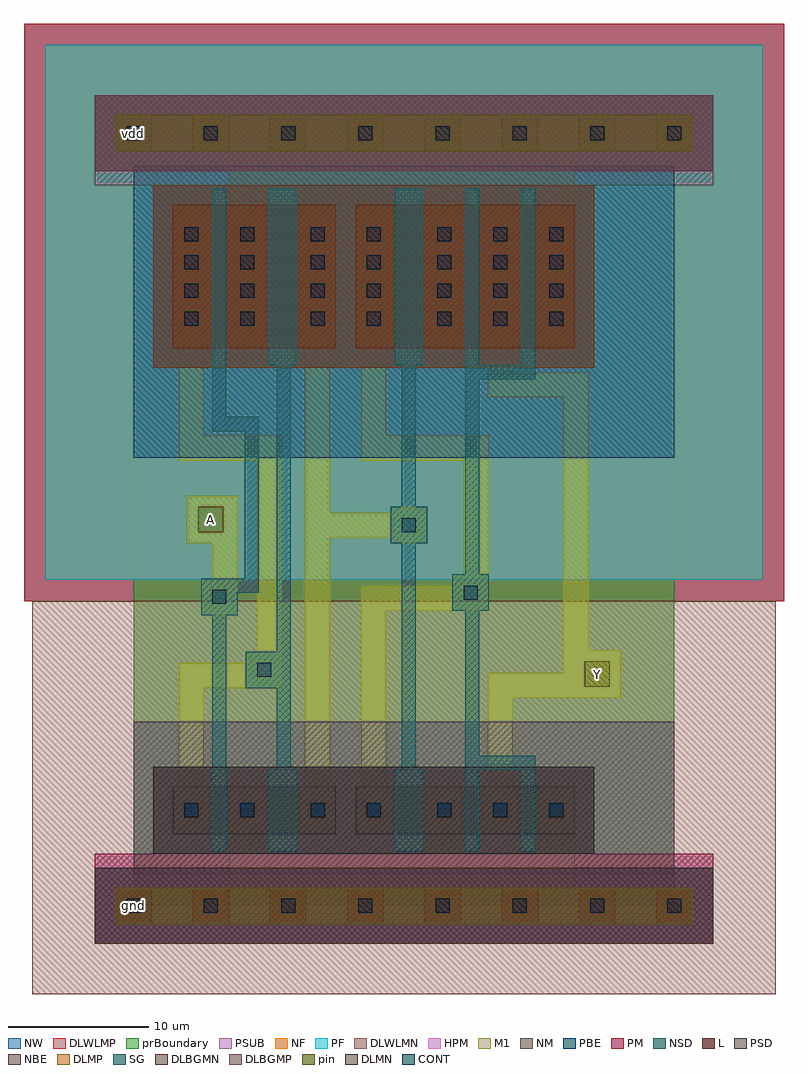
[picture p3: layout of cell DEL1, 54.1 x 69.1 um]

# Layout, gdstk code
import gdstk
lib = gdstk.Library(unit=1e-6, precision=1e-09)
def R(c, l, rs):  # rectangles x0, y0, x1, y1
    for r in rs: c.add(gdstk.rectangle(r[:2], r[2:], *l))
def A(c, l, x, y, w, h, nx, ny, dx, dy):  # array of equal rectangles
    R(c, l, [(x+i*dx, y+j*dy, x+i*dx+w, y+j*dy+h) for i in range(nx) for j in range(ny)])
def P(c, l, *ps):  # polygons
    for p in ps: c.add(gdstk.Polygon(p, *l))
L = (3, 0)
NM = (7, 0)
SG = (8, 0)
PSD = (9, 0)
CONT = (11, 0)
M1 = (13, 0)
NF = (25, 0)
PF = (26, 0)
NSD = (28, 0)
HPM = (33, 0)
PM = (35, 0)
NW = (36, 0)
pin = (48, 1)
PSUB = (140, 0)
PBE = (146, 0)
NBE = (147, 0)
DLWLMP = (150, 0)
DLWLMN = (151, 0)
DLMP = (157, 0)
DLMN = (158, 0)
DLBGMP = (177, 0)
DLBGMN = (178, 0)
prBoundary = (235, 0)

del1 = lib.new_cell('DEL1')
A(del1, L, -1.3, -1.3, 2.6, 2.6, 8, 2, 5.5, 55)
R(del1, L, [(2.8,5.1,14.4,8.5), (15.8,5.1,31.4,8.5), (2.8,39.7,14.4,49.9), (15.8,39.7,31.4,49.9)])
R(del1, NM, [(-2.75,-2.7,41.25,2.7)])
P(del1, NM, [(1.4,38.3),(1.4,51.3),(-2.75,51.3),(-2.75,57.7),(41.25,57.7),(41.25,51.3),(32.8,51.3),(32.8,38.3)])
P(del1, SG, [(5.6,3.9),(5.6,20.7),(4.8,20.7),(4.8,23.3),(7.9,23.3),(7.9,33.8),(5.6,33.8),(5.6,51.1),(6.6,51.1),(6.6,34.8),(8.9,34.8),(8.9,22.3),(7.4,22.3),(7.4,20.7),(6.6,20.7),(6.6,3.9)],
  [(9.6,3.9),(9.6,9.7),(10.2,9.7),(10.2,15.5),(8,15.5),(8,18.1),(10.2,18.1),(10.2,38.5),(9.6,38.5),(9.6,51.1),(11.6,51.1),(11.6,38.5),(11.2,38.5),(11.2,9.7),(11.6,9.7),(11.6,3.9)],
  [(18.6,3.9),(18.6,9.7),(19.1,9.7),(19.1,25.8),(18.3,25.8),(18.3,28.4),(19.1,28.4),(19.1,38.5),(18.6,38.5),(18.6,51.1),(20.6,51.1),(20.6,38.5),(20.1,38.5),(20.1,28.4),(20.9,28.4),(20.9,25.8),(20.1,25.8),(20.1,9.7),(20.6,9.7),(20.6,3.9)],
  [(23.6,3.9),(23.6,21),(22.7,21),(22.7,23.6),(23.6,23.6),(23.6,51.1),(24.6,51.1),(24.6,38.5),(27.6,38.5),(27.6,51.1),(28.6,51.1),(28.6,37.5),(24.6,37.5),(24.6,23.6),(25.3,23.6),(25.3,21),(24.6,21),(24.6,10.7),(28.6,10.7),(28.6,3.9),(27.6,3.9),(27.6,9.7),(24.6,9.7),(24.6,3.9)])
R(del1, PSD, [(1.4,3.7,32.8,9.9), (-2.75,52.3,41.25,57.7)])
A(del1, CONT, -0.5, -0.5, 1, 1, 8, 2, 5.5, 55)
A(del1, CONT, 21.6, 6.3, 1, 1, 3, 2, 4, 35)
A(del1, CONT, 3.6, 41.3, 1, 1, 1, 4, 0, 2)
A(del1, CONT, 12.6, 41.3, 1, 1, 1, 4, 0, 2)
A(del1, CONT, 16.6, 41.3, 1, 1, 1, 4, 0, 2)
A(del1, CONT, 21.6, 41.3, 1, 1, 1, 4, 0, 2)
A(del1, CONT, 21.6, 43.3, 1, 1, 3, 3, 4, 2)
R(del1, CONT, [(3.6,6.3,4.6,7.3), (7.6,6.3,8.6,7.3), (7.6,6.3,8.6,7.3), (12.6,6.3,13.6,7.3), (16.6,6.3,17.6,7.3), (21.6,6.3,22.6,7.3), (8.8,16.3,9.8,17.3), (5.6,21.5,6.6,22.5), (23.5,21.8,24.5,22.8), (19.1,26.6,20.1,27.6), (7.6,41.3,8.6,42.3), (7.6,41.3,8.6,42.3), (7.6,43.3,8.6,44.3), (7.6,43.3,8.6,44.3), (7.6,45.3,8.6,46.3), (7.6,45.3,8.6,46.3), (7.6,47.3,8.6,48.3), (7.6,47.3,8.6,48.3)])
P(del1, M1, [(-1.3,-1.3),(-1.3,1.3),(6.8,1.3),(6.8,8.5),(9.4,8.5),(9.4,3.7),(20.8,3.7),(20.8,8.5),(23.4,8.5),(23.4,3.7),(28.8,3.7),(28.8,8.5),(31.4,8.5),(31.4,1.3),(39.8,1.3),(39.8,-1.3)],
  [(4.8,20.7),(4.8,23.3),(5.6,23.3),(5.6,25.8),(3.8,25.8),(3.8,29.2),(7.4,29.2),(7.4,20.7)],
  [(2.8,5.1),(2.8,8.5),(3.2,8.5),(3.2,17.3),(8,17.3),(8,18.1),(8.8,18.1),(8.8,31.7),(3.2,31.7),(3.2,39.7),(2.8,39.7),(2.8,49.9),(5.4,49.9),(5.4,39.7),(5,39.7),(5,33.5),(10.6,33.5),(10.6,15.5),(5,15.5),(5,8.5),(5.4,8.5),(5.4,5.1)],
  [(11.8,5.1),(11.8,8.5),(12.2,8.5),(12.2,39.7),(11.8,39.7),(11.8,49.9),(14.4,49.9),(14.4,39.7),(14,39.7),(14,28),(18.3,28),(18.3,28.4),(20.9,28.4),(20.9,25.8),(18.3,25.8),(18.3,26.2),(14,26.2),(14,8.5),(14.4,8.5),(14.4,5.1)],
  [(15.8,5.1),(15.8,8.5),(16.2,8.5),(16.2,22.8),(22.7,22.8),(22.7,23.6),(23.5,23.6),(23.5,31.7),(16.2,31.7),(16.2,39.7),(15.8,39.7),(15.8,49.9),(18.4,49.9),(18.4,39.7),(18,39.7),(18,33.5),(25.3,33.5),(25.3,21),(18,21),(18,8.5),(18.4,8.5),(18.4,5.1)],
  [(24.8,5.1),(24.8,8.5),(25.2,8.5),(25.2,16.6),(30.6,16.6),(30.6,36.2),(25.2,36.2),(25.2,39.7),(24.8,39.7),(24.8,49.9),(27.4,49.9),(27.4,39.7),(27,39.7),(27,38),(32.4,38),(32.4,18.2),(34.7,18.2),(34.7,14.8),(27,14.8),(27,8.5),(27.4,8.5),(27.4,5.1)],
  [(6.8,39.7),(6.8,53.7),(-1.3,53.7),(-1.3,56.3),(39.8,56.3),(39.8,53.7),(31.4,53.7),(31.4,39.7),(28.8,39.7),(28.8,51.3),(23.4,51.3),(23.4,39.7),(20.8,39.7),(20.8,51.3),(9.4,51.3),(9.4,39.7)])
R(del1, NF, [(-6.3,23.2,44.8,61.3)])
R(del1, PF, [(-6.3,23.2,44.8,61.3)])
R(del1, NSD, [(-2.75,-2.7,41.25,2.7), (1.4,38.3,32.8,51.3)])
P(del1, HPM, [(-2.75,-2.7),(-2.75,3.7),(1.4,3.7),(1.4,9.9),(32.8,9.9),(32.8,3.7),(41.25,3.7),(41.25,-2.7)],
  [(1.4,38.3),(1.4,51.3),(-2.75,51.3),(-2.75,57.7),(41.25,57.7),(41.25,51.3),(32.8,51.3),(32.8,38.3)])
R(del1, PM, [(-2.75,52.3,41.25,57.7)])
P(del1, PM, [(-2.75,-2.7),(-2.75,3.7),(1.4,3.7),(1.4,9.9),(32.8,9.9),(32.8,3.7),(41.25,3.7),(41.25,-2.7)])
R(del1, NW, [(-7.8,21.7,46.3,62.8)])
R(del1, pin, [(-1.3,-1.3,39.8,1.3), (32.1,15.6,33.9,17.4), (4.6,26.6,6.4,28.4), (-1.3,53.7,39.8,56.3)])
R(del1, PSUB, [(-6.3,23.2,44.8,61.3)])
R(del1, PBE, [(0,31.9,38.5,52.7)])
R(del1, NBE, [(0,2.3,38.5,13.1)])
R(del1, DLWLMP, [(-7.8,21.7,46.3,62.8)])
R(del1, DLWLMN, [(-7.2,-6.3,45.7,21.7)])
R(del1, DLMP, [(1.4,38.3,32.8,51.3)])
R(del1, DLMN, [(1.4,3.7,32.8,9.9)])
R(del1, DLBGMP, [(-2.75,52.3,41.25,57.7)])
R(del1, DLBGMN, [(-2.75,-2.7,41.25,2.7)])
R(del1, prBoundary, [(0,0,38.5,55)])
del1.add(gdstk.Label('Y', (33,16.5), layer=48, texttype=0))
del1.add(gdstk.Label('A', (5.5,27.5), layer=48, texttype=0))
del1.add(gdstk.Label('vdd', (0,55), layer=48, texttype=0))
del1.add(gdstk.Label('A', (5.5,27.5), layer=48, texttype=0))
del1.add(gdstk.Label('vdd', (0,55), layer=48, texttype=0))
del1.add(gdstk.Label('gnd', (0,0), layer=48, texttype=0))

lib.write_gds('DEL1.gds')
